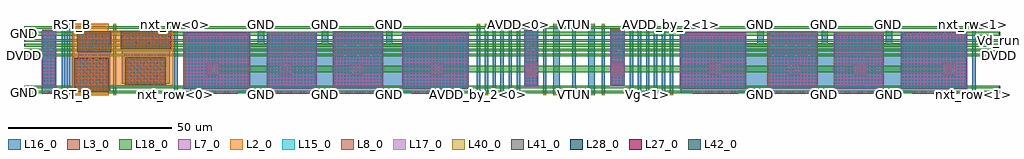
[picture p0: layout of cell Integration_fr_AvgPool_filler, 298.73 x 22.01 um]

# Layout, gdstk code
from math import pi, radians
import gdstk
lib = gdstk.Library(unit=1e-6, precision=1e-09)
def R(c, l, rs):  # rectangles x0, y0, x1, y1
    for r in rs: c.add(gdstk.rectangle(r[:2], r[2:], *l))
def A(c, l, x, y, w, h, nx, ny, dx, dy):  # array of equal rectangles
    R(c, l, [(x+i*dx, y+j*dy, x+i*dx+w, y+j*dy+h) for i in range(nx) for j in range(ny)])
L2_0 = (2, 0)
L3_0 = (3, 0)
L7_0 = (7, 0)
L8_0 = (8, 0)
L15_0 = (15, 0)
L16_0 = (16, 0)
L17_0 = (17, 0)
L18_0 = (18, 0)
L27_0 = (27, 0)
L28_0 = (28, 0)
L40_0 = (40, 0)
L41_0 = (41, 0)
L42_0 = (42, 0)

m2_m1_cdns_761096859220 = lib.new_cell('M2_M1_CDNS_761096859220')
R(m2_m1_cdns_761096859220, L16_0, [(-0.95,-0.45,0.95,0.45)])
R(m2_m1_cdns_761096859220, L17_0, [(-0.75,-0.25,-0.25,0.25), (0.25,-0.25,0.75,0.25)])
R(m2_m1_cdns_761096859220, L18_0, [(-0.9,-0.4,0.9,0.4)])

m1_nactive_cdns_76109685 = lib.new_cell('M1_NACTIVE_CDNS_761096859221')
R(m1_nactive_cdns_76109685, L3_0, [(-4.95,-4.95,4.95,4.95)])
R(m1_nactive_cdns_76109685, L8_0, [(-5.2,-5.2,5.2,5.2)])
A(m1_nactive_cdns_76109685, L15_0, -4.7, -4.7, 0.4, 0.4, 10, 10, 1, 1)
R(m1_nactive_cdns_76109685, L16_0, [(-4.85,-4.85,4.85,4.85)])

m2_m1_cdns_761096859222 = lib.new_cell('M2_M1_CDNS_761096859222')
R(m2_m1_cdns_761096859222, L16_0, [(-1.95,-0.45,1.95,0.45)])
A(m2_m1_cdns_761096859222, L17_0, -1.75, -0.25, 0.5, 0.5, 4, 1, 1, 0)
R(m2_m1_cdns_761096859222, L18_0, [(-1.9,-0.4,1.9,0.4)])

c_m1_nactive_cdns_76109685 = lib.new_cell('M1_NACTIVE_CDNS_761096859223')
R(c_m1_nactive_cdns_76109685, L3_0, [(-4.95,-2.95,4.95,2.95)])
R(c_m1_nactive_cdns_76109685, L8_0, [(-5.2,-3.2,5.2,3.2)])
A(c_m1_nactive_cdns_76109685, L15_0, -4.7, -2.7, 0.4, 0.4, 10, 6, 1, 1)
R(c_m1_nactive_cdns_76109685, L16_0, [(-4.85,-2.85,4.85,2.85)])

m2_m1_cdns_761096859224 = lib.new_cell('M2_M1_CDNS_761096859224')
R(m2_m1_cdns_761096859224, L16_0, [(-6.95,-0.45,6.95,0.45)])
A(m2_m1_cdns_761096859224, L17_0, -6.75, -0.25, 0.5, 0.5, 14, 1, 1, 0)
R(m2_m1_cdns_761096859224, L18_0, [(-6.9,-0.4,6.9,0.4)])

m2_m1_cdns_761096859225 = lib.new_cell('M2_M1_CDNS_761096859225')
R(m2_m1_cdns_761096859225, L16_0, [(-8.95,-0.45,8.95,0.45)])
A(m2_m1_cdns_761096859225, L17_0, -8.75, -0.25, 0.5, 0.5, 18, 1, 1, 0)
R(m2_m1_cdns_761096859225, L18_0, [(-8.9,-0.4,8.9,0.4)])

m1_pactive_cdns_76109685 = lib.new_cell('M1_PACTIVE_CDNS_761096859226')
R(m1_pactive_cdns_76109685, L3_0, [(-1.95,-8.45,1.95,8.45)])
R(m1_pactive_cdns_76109685, L7_0, [(-2.2,-8.7,2.2,8.7)])
A(m1_pactive_cdns_76109685, L15_0, -1.7, -8.2, 0.4, 0.4, 4, 17, 1, 1)
R(m1_pactive_cdns_76109685, L16_0, [(-1.85,-8.35,1.85,8.35)])

c_m1_pactive_cdns_76109685 = lib.new_cell('M1_PACTIVE_CDNS_761096859227')
R(c_m1_pactive_cdns_76109685, L3_0, [(-9.95,-8.45,9.95,8.45)])
R(c_m1_pactive_cdns_76109685, L7_0, [(-10.2,-8.7,10.2,8.7)])
A(c_m1_pactive_cdns_76109685, L15_0, -9.7, -8.2, 0.4, 0.4, 20, 17, 1, 1)
R(c_m1_pactive_cdns_76109685, L16_0, [(-9.85,-8.35,9.85,8.35)])

c_m1_nactive_cdns_76109685_ = lib.new_cell('M1_NACTIVE_CDNS_761096859228')
R(c_m1_nactive_cdns_76109685_, L3_0, [(-7.45,-2.45,7.45,2.45)])
R(c_m1_nactive_cdns_76109685_, L8_0, [(-7.7,-2.7,7.7,2.7)])
A(c_m1_nactive_cdns_76109685_, L15_0, -7.2, -2.2, 0.4, 0.4, 15, 5, 1, 1)
R(c_m1_nactive_cdns_76109685_, L16_0, [(-7.35,-2.35,7.35,2.35)])

c_m1_pactive_cdns_76109685_ = lib.new_cell('M1_PACTIVE_CDNS_761096859229')
R(c_m1_pactive_cdns_76109685_, L3_0, [(-7.45,-8.45,7.45,8.45)])
R(c_m1_pactive_cdns_76109685_, L7_0, [(-7.7,-8.7,7.7,8.7)])
A(c_m1_pactive_cdns_76109685_, L15_0, -7.2, -8.2, 0.4, 0.4, 15, 17, 1, 1)
R(c_m1_pactive_cdns_76109685_, L16_0, [(-7.35,-8.35,7.35,8.35)])

m2_m1_cdns_7610968592210 = lib.new_cell('M2_M1_CDNS_7610968592210')
R(m2_m1_cdns_7610968592210, L16_0, [(-1.95,-1.95,1.95,1.95)])
A(m2_m1_cdns_7610968592210, L17_0, -1.75, -1.75, 0.5, 0.5, 4, 4, 1, 1)
R(m2_m1_cdns_7610968592210, L18_0, [(-1.9,-1.9,1.9,1.9)])

m2_m1_cdns_7610968592211 = lib.new_cell('M2_M1_CDNS_7610968592211')
R(m2_m1_cdns_7610968592211, L16_0, [(-4.95,-0.45,4.95,0.45)])
A(m2_m1_cdns_7610968592211, L17_0, -4.75, -0.25, 0.5, 0.5, 10, 1, 1, 0)
R(m2_m1_cdns_7610968592211, L18_0, [(-4.9,-0.4,4.9,0.4)])

c_m1_nactive_cdns_76109685__ = lib.new_cell('M1_NACTIVE_CDNS_7610968592212')
R(c_m1_nactive_cdns_76109685__, L3_0, [(-5.95,-3.95,5.95,3.95)])
R(c_m1_nactive_cdns_76109685__, L8_0, [(-6.2,-4.2,6.2,4.2)])
A(c_m1_nactive_cdns_76109685__, L15_0, -5.7, -3.7, 0.4, 0.4, 12, 8, 1, 1)
R(c_m1_nactive_cdns_76109685__, L16_0, [(-5.85,-3.85,5.85,3.85)])

m3_m2_cdns_7610968592213 = lib.new_cell('M3_M2_CDNS_7610968592213')
R(m3_m2_cdns_7610968592213, L18_0, [(-0.95,-0.45,0.95,0.45)])
R(m3_m2_cdns_7610968592213, L27_0, [(-0.75,-0.25,-0.25,0.25), (0.25,-0.25,0.75,0.25)])
R(m3_m2_cdns_7610968592213, L28_0, [(-0.9,-0.4,0.9,0.4)])

integration_fr_avgpool_f = lib.new_cell('Integration_fr_AvgPool_filler')
R(integration_fr_avgpool_f, L2_0, [(14.58,0,25.99,13.05), (25.96,2.93,45.62,13.05), (14.58,13.05,45.62,19.75), (14.58,19.75,25.99,22)])
R(integration_fr_avgpool_f, L16_0, [(71.55,0,73.47,22), (91.21,0,93.13,22), (110.85,0,112.77,22), (224.48,0,226.4,22), (244.12,0,246.04,22), (263.78,0,265.7,22), (5.39,0.58,9.92,19.72), (50.92,0.63,132.86,15.92), (201.03,0.63,283.68,15.92), (16.56,1.41,26.36,14.69), (29.95,3.6,44.65,14.69)])
A(integration_fr_avgpool_f, L40_0, 141.02, 0, 1, 0.49, 3, 2, 2.4, 21.51)
R(integration_fr_avgpool_f, L40_0, [(176.82,-0.01,177.82,0.48), (185.43,-0.01,186.43,0.48), (187.93,-0.01,188.93,0.48), (11.61,0,12.61,0.49), (13.14,0,14.1,0.49), (14.55,0,15.35,0.49), (27.28,0,28.28,0.49), (45.99,0,46.99,0.49), (71.84,0,73.23,0.49), (91.48,0,92.87,0.49), (111.17,0,112.56,0.49), (138.6,0,139.6,0.49), (148.32,0,149.32,0.49), (150.82,0,151.82,0.49), (158.92,0,159.92,0.49), (162.21,0,163.76,0.49), (167.86,0,168.86,0.49), (172.93,0,174.48,0.49), (190.43,0,191.43,0.48), (192.82,0,193.82,0.48), (195.23,0,196.23,0.48), (197.65,0,198.65,0.48), (224.79,0,226.18,0.49), (244.43,0,245.82,0.49), (264.12,0,265.51,0.49), (290.26,0,291.26,0.48), (11.61,21.51,12.61,22), (13.14,21.51,14.1,22), (14.55,21.51,15.35,22), (27.28,21.51,28.28,22), (45.99,21.51,46.99,22), (71.84,21.51,73.23,22), (91.48,21.51,92.87,22), (111.17,21.51,112.56,22), (138.6,21.51,139.6,22), (148.32,21.51,149.32,22), (150.82,21.51,151.82,22), (158.92,21.51,159.92,22), (162.21,21.51,163.76,22), (167.86,21.51,168.86,22), (172.93,21.51,174.48,22), (176.82,21.51,177.82,22), (185.43,21.51,186.43,22), (187.93,21.51,188.93,22), (190.43,21.52,191.43,22), (192.82,21.52,193.82,22), (195.23,21.52,196.23,22), (197.65,21.52,198.65,22), (224.69,21.52,226.08,22), (244.38,21.52,245.77,22), (264.02,21.52,265.41,22), (290.26,21.52,291.26,22)])
A(integration_fr_avgpool_f, L41_0, 0, 11.95, 0.37, 0.8, 1, 4, 0, 1.5)
A(integration_fr_avgpool_f, L41_0, 298.36, 11.95, 0.37, 0.8, 1, 4, 0, 1.5)
R(integration_fr_avgpool_f, L41_0, [(0,0.63,0.34,1.43), (298.35,0.63,298.73,1.43), (0,2.15,0.37,2.95), (298.35,2.15,298.73,2.95), (0,18.25,0.37,19.45), (298.36,18.25,298.73,19.45), (0,20.43,0.37,21.23), (298.36,20.43,298.73,21.23)])
R(integration_fr_avgpool_f, L42_0, [(0,2.15,0.6,2.95)])
integration_fr_avgpool_f.add(gdstk.FlexPath([(143.92,22),(143.92,0)], 1, ends="flush", simple_path=True, layer=16, datatype=0))  # L16_0
integration_fr_avgpool_f.add(gdstk.FlexPath([(141.52,22),(141.52,0)], 1, ends="flush", simple_path=True, layer=16, datatype=0))  # L16_0
integration_fr_avgpool_f.add(gdstk.FlexPath([(195.73,22),(195.73,0)], 1, ends="flush", simple_path=True, layer=16, datatype=0))  # L16_0
integration_fr_avgpool_f.add(gdstk.FlexPath([(193.32,22),(193.32,0)], 1, ends="flush", simple_path=True, layer=16, datatype=0))  # L16_0
integration_fr_avgpool_f.add(gdstk.FlexPath([(198.15,22),(198.15,0)], 1, ends="flush", simple_path=True, layer=16, datatype=0))  # L16_0
integration_fr_avgpool_f.add(gdstk.FlexPath([(190.93,22),(190.93,0)], 1, ends="flush", simple_path=True, layer=16, datatype=0))  # L16_0
integration_fr_avgpool_f.add(gdstk.FlexPath([(188.43,22),(188.43,0)], 1, ends="flush", simple_path=True, layer=16, datatype=0))  # L16_0
integration_fr_avgpool_f.add(gdstk.FlexPath([(185.93,22),(185.93,0)], 1, ends="flush", simple_path=True, layer=16, datatype=0))  # L16_0
integration_fr_avgpool_f.add(gdstk.FlexPath([(177.32,22),(177.32,0)], 1, ends="flush", simple_path=True, layer=16, datatype=0))  # L16_0
integration_fr_avgpool_f.add(gdstk.FlexPath([(173.72,22),(173.72,0)], 2, ends="flush", simple_path=True, layer=16, datatype=0))  # L16_0
integration_fr_avgpool_f.add(gdstk.FlexPath([(168.35,22),(168.35,0)], 1.2, ends="flush", simple_path=True, layer=16, datatype=0))  # L16_0
integration_fr_avgpool_f.add(gdstk.FlexPath([(163.02,22),(163.02,0)], 2, ends="flush", simple_path=True, layer=16, datatype=0))  # L16_0
integration_fr_avgpool_f.add(gdstk.FlexPath([(159.42,22),(159.42,0)], 1, ends="flush", simple_path=True, layer=16, datatype=0))  # L16_0
integration_fr_avgpool_f.add(gdstk.FlexPath([(151.32,22),(151.32,0)], 1, ends="flush", simple_path=True, layer=16, datatype=0))  # L16_0
integration_fr_avgpool_f.add(gdstk.FlexPath([(148.82,22),(148.82,0)], 1, ends="flush", simple_path=True, layer=16, datatype=0))  # L16_0
integration_fr_avgpool_f.add(gdstk.FlexPath([(146.32,22),(146.32,0)], 1, ends="flush", simple_path=True, layer=16, datatype=0))  # L16_0
integration_fr_avgpool_f.add(gdstk.FlexPath([(139.1,22),(139.1,0)], 1, ends="flush", simple_path=True, layer=16, datatype=0))  # L16_0
integration_fr_avgpool_f.add(gdstk.FlexPath([(46.49,22),(46.49,0)], 1, ends="flush", simple_path=True, layer=16, datatype=0))  # L16_0
integration_fr_avgpool_f.add(gdstk.FlexPath([(27.78,22),(27.78,0)], 1, ends="flush", simple_path=True, layer=16, datatype=0))  # L16_0
integration_fr_avgpool_f.add(gdstk.FlexPath([(14.95,0),(14.95,22)], 0.8, ends="flush", simple_path=True, layer=16, datatype=0))  # L16_0
integration_fr_avgpool_f.add(gdstk.FlexPath([(13.62,0),(13.62,22)], 0.96, ends="flush", simple_path=True, layer=16, datatype=0))  # L16_0
integration_fr_avgpool_f.add(gdstk.FlexPath([(12.11,0),(12.11,22)], 1, ends="flush", simple_path=True, layer=16, datatype=0))  # L16_0
integration_fr_avgpool_f.add(gdstk.FlexPath([(290.76,22),(290.76,0)], 1, ends="flush", simple_path=True, layer=16, datatype=0))  # L16_0
integration_fr_avgpool_f.add(gdstk.FlexPath([(57.78,8.09),(285.1,8.09)], 2, ends="flush", simple_path=True, layer=18, datatype=0))  # L18_0
integration_fr_avgpool_f.add(gdstk.FlexPath([(0,1.03),(298.73,1.03)], 0.8, ends="flush", simple_path=True, layer=18, datatype=0))  # L18_0
integration_fr_avgpool_f.add(gdstk.FlexPath([(0,2.55),(298.73,2.55)], 0.8, ends="flush", simple_path=True, layer=18, datatype=0))  # L18_0
integration_fr_avgpool_f.add(gdstk.FlexPath([(0,16.85),(298.73,16.85)], 0.8, ends="flush", simple_path=True, layer=18, datatype=0))  # L18_0
integration_fr_avgpool_f.add(gdstk.FlexPath([(0,13.85),(298.73,13.85)], 0.8, ends="flush", simple_path=True, layer=18, datatype=0))  # L18_0
integration_fr_avgpool_f.add(gdstk.FlexPath([(0,15.35),(298.73,15.35)], 0.8, ends="flush", simple_path=True, layer=18, datatype=0))  # L18_0
integration_fr_avgpool_f.add(gdstk.FlexPath([(0,18.85),(298.73,18.85)], 1.2, ends="flush", simple_path=True, layer=18, datatype=0))  # L18_0
integration_fr_avgpool_f.add(gdstk.FlexPath([(0,12.35),(298.73,12.35)], 0.8, ends="flush", simple_path=True, layer=18, datatype=0))  # L18_0
integration_fr_avgpool_f.add(gdstk.FlexPath([(0,20.83),(298.73,20.83)], 0.8, ends="flush", simple_path=True, layer=18, datatype=0))  # L18_0
integration_fr_avgpool_f.add(gdstk.FlexPath([(1.45,2.55),(0,2.55)], 0.8, ends="flush", simple_path=True, layer=28, datatype=0))  # L28_0
integration_fr_avgpool_f.add(gdstk.Reference(m2_m1_cdns_761096859220, (111.84,1.03)))
integration_fr_avgpool_f.add(gdstk.Reference(m2_m1_cdns_761096859220, (92.2,1.03)))
integration_fr_avgpool_f.add(gdstk.Reference(m2_m1_cdns_761096859220, (72.54,1.03)))
integration_fr_avgpool_f.add(gdstk.Reference(m2_m1_cdns_761096859220, (225.45,1.03), rotation=pi, x_reflection=True))
integration_fr_avgpool_f.add(gdstk.Reference(m2_m1_cdns_761096859220, (245.09,1.03), rotation=pi, x_reflection=True))
integration_fr_avgpool_f.add(gdstk.Reference(m2_m1_cdns_761096859220, (264.75,1.03), rotation=pi, x_reflection=True))
integration_fr_avgpool_f.add(gdstk.Reference(m1_nactive_cdns_76109685, (20.7,6.26)))
integration_fr_avgpool_f.add(gdstk.Reference(m2_m1_cdns_761096859222, (7.78,18.87)))
integration_fr_avgpool_f.add(gdstk.Reference(m2_m1_cdns_761096859222, (7.6,1.03)))
integration_fr_avgpool_f.add(gdstk.Reference(c_m1_nactive_cdns_76109685, (21.51,16.4)))
integration_fr_avgpool_f.add(gdstk.Reference(m2_m1_cdns_761096859224, (81.94,18.82)))
integration_fr_avgpool_f.add(gdstk.Reference(m2_m1_cdns_761096859224, (102.32,18.82)))
integration_fr_avgpool_f.add(gdstk.Reference(m2_m1_cdns_761096859224, (278.81,1.03)))
integration_fr_avgpool_f.add(gdstk.Reference(m2_m1_cdns_761096859224, (255.55,1.03)))
integration_fr_avgpool_f.add(gdstk.Reference(m2_m1_cdns_761096859224, (235.45,1.03)))
integration_fr_avgpool_f.add(gdstk.Reference(m2_m1_cdns_761096859224, (211.66,1.03)))
integration_fr_avgpool_f.add(gdstk.Reference(m2_m1_cdns_761096859224, (58.48,1.03), rotation=pi, x_reflection=True))
integration_fr_avgpool_f.add(gdstk.Reference(m2_m1_cdns_761096859224, (125.63,1.03), rotation=pi, x_reflection=True))
integration_fr_avgpool_f.add(gdstk.Reference(m2_m1_cdns_761096859224, (101.84,1.03), rotation=pi, x_reflection=True))
integration_fr_avgpool_f.add(gdstk.Reference(m2_m1_cdns_761096859224, (81.74,1.03), rotation=pi, x_reflection=True))
integration_fr_avgpool_f.add(gdstk.Reference(m2_m1_cdns_761096859224, (256.15,18.75), rotation=pi, x_reflection=True))
integration_fr_avgpool_f.add(gdstk.Reference(m2_m1_cdns_761096859224, (235.77,18.75), rotation=pi, x_reflection=True))
integration_fr_avgpool_f.add(gdstk.Reference(m2_m1_cdns_761096859224, (37.59,12.35)))
integration_fr_avgpool_f.add(gdstk.Reference(m2_m1_cdns_761096859225, (59.18,18.81)))
integration_fr_avgpool_f.add(gdstk.Reference(m2_m1_cdns_761096859225, (126.13,18.82)))
integration_fr_avgpool_f.add(gdstk.Reference(m2_m1_cdns_761096859225, (278.91,18.74), rotation=pi, x_reflection=True))
integration_fr_avgpool_f.add(gdstk.Reference(m2_m1_cdns_761096859225, (211.96,18.75), rotation=pi, x_reflection=True))
integration_fr_avgpool_f.add(gdstk.Reference(m1_pactive_cdns_76109685, (155.26,11.37)))
integration_fr_avgpool_f.add(gdstk.Reference(m1_pactive_cdns_76109685, (181.63,11.48)))
integration_fr_avgpool_f.add(gdstk.Reference(m1_pactive_cdns_76109685, (7.73,11.37)))
integration_fr_avgpool_f.add(gdstk.Reference(c_m1_pactive_cdns_76109685, (59,10.64)))
integration_fr_avgpool_f.add(gdstk.Reference(c_m1_pactive_cdns_76109685, (125.91,10.64)))
integration_fr_avgpool_f.add(gdstk.Reference(c_m1_pactive_cdns_76109685, (210.88,10.64), rotation=pi, x_reflection=True))
integration_fr_avgpool_f.add(gdstk.Reference(c_m1_pactive_cdns_76109685, (278.5,10.64), rotation=pi, x_reflection=True))
integration_fr_avgpool_f.add(gdstk.Reference(c_m1_nactive_cdns_76109685_, (37.3,17.04)))
integration_fr_avgpool_f.add(gdstk.Reference(c_m1_pactive_cdns_76109685_, (102.24,10.96)))
integration_fr_avgpool_f.add(gdstk.Reference(c_m1_pactive_cdns_76109685_, (235.26,10.96), rotation=pi, x_reflection=True))
integration_fr_avgpool_f.add(gdstk.Reference(c_m1_pactive_cdns_76109685_, (255.52,10.74), rotation=pi, x_reflection=True))
integration_fr_avgpool_f.add(gdstk.Reference(c_m1_pactive_cdns_76109685_, (81.98,10.74)))
integration_fr_avgpool_f.add(gdstk.Reference(m2_m1_cdns_7610968592210, (235.59,8.09)))
integration_fr_avgpool_f.add(gdstk.Reference(m2_m1_cdns_7610968592210, (255.98,8.09)))
integration_fr_avgpool_f.add(gdstk.Reference(m2_m1_cdns_7610968592210, (283.27,8.09)))
integration_fr_avgpool_f.add(gdstk.Reference(m2_m1_cdns_7610968592210, (57.78,8.09)))
integration_fr_avgpool_f.add(gdstk.Reference(m2_m1_cdns_7610968592210, (211.42,8.09)))
integration_fr_avgpool_f.add(gdstk.Reference(m2_m1_cdns_7610968592210, (181.67,8.09)))
integration_fr_avgpool_f.add(gdstk.Reference(m2_m1_cdns_7610968592210, (155.28,8.09)))
integration_fr_avgpool_f.add(gdstk.Reference(m2_m1_cdns_7610968592210, (126.43,8.09)))
integration_fr_avgpool_f.add(gdstk.Reference(m2_m1_cdns_7610968592210, (101.7,8.09)))
integration_fr_avgpool_f.add(gdstk.Reference(m2_m1_cdns_7610968592210, (80.1,8.09)))
integration_fr_avgpool_f.add(gdstk.Reference(m2_m1_cdns_7610968592211, (21.44,12.35)))
integration_fr_avgpool_f.add(gdstk.Reference(c_m1_nactive_cdns_76109685__, (37.25,7.45)))
integration_fr_avgpool_f.add(gdstk.Reference(m3_m2_cdns_7610968592213, (2.35,2.53)))
integration_fr_avgpool_f.add(gdstk.Label('nxt_row<1>', (290.73,0.2), layer=40, texttype=0))
integration_fr_avgpool_f.add(gdstk.Label('GND', (225.5,0.2), layer=40, texttype=0))
integration_fr_avgpool_f.add(gdstk.Label('GND', (245.14,0.2), layer=40, texttype=0))
integration_fr_avgpool_f.add(gdstk.Label('GND', (264.83,0.2), layer=40, texttype=0))
integration_fr_avgpool_f.add(gdstk.Label('Vg<1>', (190.93,0.2), layer=40, texttype=0))
integration_fr_avgpool_f.add(gdstk.Label('run<1>', (193.32,0.2), layer=40, texttype=0))
integration_fr_avgpool_f.add(gdstk.Label('prog<1>', (195.73,0.2), layer=40, texttype=0))
integration_fr_avgpool_f.add(gdstk.Label('AVDD_by_2<1>', (198.15,0.2), layer=40, texttype=0))
integration_fr_avgpool_f.add(gdstk.Label('VINJ<1>', (177.32,0.19), layer=40, texttype=0))
integration_fr_avgpool_f.add(gdstk.Label('AVDD<1>', (185.93,0.19), layer=40, texttype=0))
integration_fr_avgpool_f.add(gdstk.Label('Vsel_b<1>', (188.43,0.19), layer=40, texttype=0))
integration_fr_avgpool_f.add(gdstk.Label('nxt_row<0>', (46.52,0.2), layer=40, texttype=0))
integration_fr_avgpool_f.add(gdstk.Label('AVDD_by_2<0>', (139.1,0.2), layer=40, texttype=0))
integration_fr_avgpool_f.add(gdstk.Label('prog<0>', (141.52,0.2), layer=40, texttype=0))
integration_fr_avgpool_f.add(gdstk.Label('run<0>', (143.92,0.2), layer=40, texttype=0))
integration_fr_avgpool_f.add(gdstk.Label('Vg<0>', (146.32,0.2), layer=40, texttype=0))
integration_fr_avgpool_f.add(gdstk.Label('Vsel_b<0>', (148.82,0.2), layer=40, texttype=0))
integration_fr_avgpool_f.add(gdstk.Label('AVDD<0>', (151.32,0.2), layer=40, texttype=0))
integration_fr_avgpool_f.add(gdstk.Label('VINJ<0>', (159.42,0.2), layer=40, texttype=0))
integration_fr_avgpool_f.add(gdstk.Label('VTUN', (168.36,0.2), layer=40, texttype=0))
integration_fr_avgpool_f.add(gdstk.Label('GND', (72.55,0.2), layer=40, texttype=0))
integration_fr_avgpool_f.add(gdstk.Label('GND', (92.19,0.2), layer=40, texttype=0))
integration_fr_avgpool_f.add(gdstk.Label('GND', (111.88,0.2), layer=40, texttype=0))
integration_fr_avgpool_f.add(gdstk.Label('GND', (162.99,0.2), layer=40, texttype=0))
integration_fr_avgpool_f.add(gdstk.Label('GND', (173.71,0.2), layer=40, texttype=0))
integration_fr_avgpool_f.add(gdstk.Label('RST_B', (14.95,0.2), layer=40, texttype=0))
integration_fr_avgpool_f.add(gdstk.Label('CLK', (13.67,0.2), layer=40, texttype=0))
integration_fr_avgpool_f.add(gdstk.Label('CLKB', (12.14,0.2), layer=40, texttype=0))
integration_fr_avgpool_f.add(gdstk.Label('Vimg_CLK', (27.81,0.2), layer=40, texttype=0))
integration_fr_avgpool_f.add(gdstk.Label('RST_B', (14.95,21.71), layer=40, texttype=0))
integration_fr_avgpool_f.add(gdstk.Label('CLK', (13.67,21.71), layer=40, texttype=0))
integration_fr_avgpool_f.add(gdstk.Label('Vimg_CLK', (27.81,21.71), layer=40, texttype=0))
integration_fr_avgpool_f.add(gdstk.Label('CLKB', (12.14,21.71), layer=40, texttype=0))
integration_fr_avgpool_f.add(gdstk.Label('nxt_rw<1>', (290.73,21.72), layer=40, texttype=0))
integration_fr_avgpool_f.add(gdstk.Label('AVDD_by_2<1>', (198.15,21.72), layer=40, texttype=0))
integration_fr_avgpool_f.add(gdstk.Label('prog<1>', (195.73,21.72), layer=40, texttype=0))
integration_fr_avgpool_f.add(gdstk.Label('run<1>', (193.32,21.72), layer=40, texttype=0))
integration_fr_avgpool_f.add(gdstk.Label('Vg<1>', (190.93,21.72), layer=40, texttype=0))
integration_fr_avgpool_f.add(gdstk.Label('GND', (264.7,21.72), layer=40, texttype=0))
integration_fr_avgpool_f.add(gdstk.Label('GND', (245.06,21.72), layer=40, texttype=0))
integration_fr_avgpool_f.add(gdstk.Label('GND', (225.37,21.72), layer=40, texttype=0))
integration_fr_avgpool_f.add(gdstk.Label('Vsel_b<1>', (188.43,21.71), layer=40, texttype=0))
integration_fr_avgpool_f.add(gdstk.Label('AVDD<1>', (185.93,21.71), layer=40, texttype=0))
integration_fr_avgpool_f.add(gdstk.Label('VINJ<1>', (177.32,21.71), layer=40, texttype=0))
integration_fr_avgpool_f.add(gdstk.Label('VTUN', (168.36,21.71), layer=40, texttype=0))
integration_fr_avgpool_f.add(gdstk.Label('GND', (173.71,21.71), layer=40, texttype=0))
integration_fr_avgpool_f.add(gdstk.Label('GND', (162.99,21.71), layer=40, texttype=0))
integration_fr_avgpool_f.add(gdstk.Label('VINJ<0>', (159.42,21.71), layer=40, texttype=0))
integration_fr_avgpool_f.add(gdstk.Label('AVDD<0>', (151.32,21.71), layer=40, texttype=0))
integration_fr_avgpool_f.add(gdstk.Label('Vsel_b<0>', (148.82,21.71), layer=40, texttype=0))
integration_fr_avgpool_f.add(gdstk.Label('Vg<0>', (146.32,21.71), layer=40, texttype=0))
integration_fr_avgpool_f.add(gdstk.Label('run<0>', (143.92,21.71), layer=40, texttype=0))
integration_fr_avgpool_f.add(gdstk.Label('prog<0>', (141.52,21.71), layer=40, texttype=0))
integration_fr_avgpool_f.add(gdstk.Label('AVDD_by_2<0>', (139.1,21.71), layer=40, texttype=0))
integration_fr_avgpool_f.add(gdstk.Label('GND', (111.88,21.71), layer=40, texttype=0))
integration_fr_avgpool_f.add(gdstk.Label('GND', (92.19,21.71), layer=40, texttype=0))
integration_fr_avgpool_f.add(gdstk.Label('GND', (72.55,21.71), layer=40, texttype=0))
integration_fr_avgpool_f.add(gdstk.Label('nxt_rw<0>', (46.52,21.71), layer=40, texttype=0))
integration_fr_avgpool_f.add(gdstk.Label('GND', (0.17,1.03), layer=41, texttype=0))
integration_fr_avgpool_f.add(gdstk.Label('Q', (298.59,2.57), layer=41, texttype=0))
integration_fr_avgpool_f.add(gdstk.Label('GND', (298.59,1.05), layer=41, texttype=0))
integration_fr_avgpool_f.add(gdstk.Label('Vd_run', (298.6,16.87), layer=41, texttype=0))
integration_fr_avgpool_f.add(gdstk.Label('Vd_prog', (298.6,20.85), layer=41, texttype=0))
integration_fr_avgpool_f.add(gdstk.Label('GND', (298.54,18.9), layer=41, texttype=0))
integration_fr_avgpool_f.add(gdstk.Label('int_rst', (298.6,13.87), layer=41, texttype=0))
integration_fr_avgpool_f.add(gdstk.Label('Vint', (298.6,15.37), layer=41, texttype=0))
integration_fr_avgpool_f.add(gdstk.Label('DVDD', (298.6,12.37), layer=41, texttype=0))
integration_fr_avgpool_f.add(gdstk.Label('DVDD', (0.24,12.37), layer=41, texttype=0))
integration_fr_avgpool_f.add(gdstk.Label('Vint', (0.24,15.37), layer=41, texttype=0))
integration_fr_avgpool_f.add(gdstk.Label('int_rst', (0.24,13.87), layer=41, texttype=0))
integration_fr_avgpool_f.add(gdstk.Label('GND', (0.18,18.87), layer=41, texttype=0))
integration_fr_avgpool_f.add(gdstk.Label('Vd_prog', (0.24,20.85), layer=41, texttype=0))
integration_fr_avgpool_f.add(gdstk.Label('Vd_run', (0.24,16.87), layer=41, texttype=0))
integration_fr_avgpool_f.add(gdstk.Label('Q', (0.24,2.57), layer=41, texttype=0))
integration_fr_avgpool_f.add(gdstk.Label('Q', (0.42,2.57), layer=42, texttype=0))

lib.write_gds('Integration_fr_AvgPool_filler.gds')
